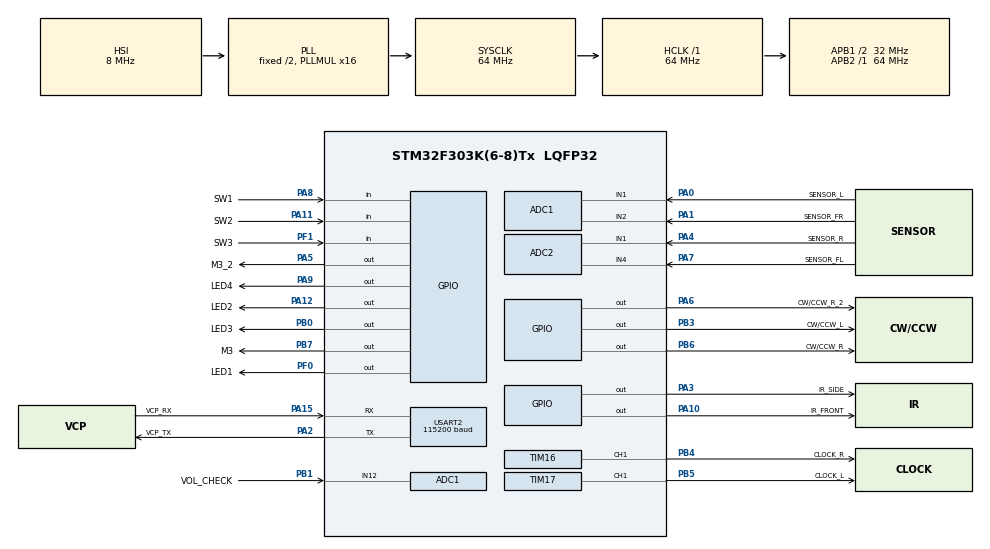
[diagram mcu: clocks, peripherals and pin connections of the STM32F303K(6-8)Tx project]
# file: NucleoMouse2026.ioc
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ADC1.Channel-0\#ChannelRegularConversion=ADC_CHANNEL_1
ADC1.Channel-1\#ChannelRegularConversion=ADC_CHANNEL_2
ADC1.Channel-2\#ChannelRegularConversion=ADC_CHANNEL_12
ADC1.DiscontinuousConvMode=ENABLE
ADC1.NbrOfConversion=3
ADC1.NbrOfConversionFlag=1
ADC1.Offset-0\#ChannelRegularConversion=0
ADC1.Offset-1\#ChannelRegularConversion=0
ADC1.Offset-2\#ChannelRegularConversion=0
ADC1.OffsetNumber-0\#ChannelRegularConversion=ADC_OFFSET_NONE
ADC1.OffsetNumber-1\#ChannelRegularConversion=ADC_OFFSET_NONE
ADC1.OffsetNumber-2\#ChannelRegularConversion=ADC_OFFSET_NONE
ADC1.Rank-0\#ChannelRegularConversion=1
ADC1.Rank-1\#ChannelRegularConversion=2
ADC1.Rank-2\#ChannelRegularConversion=3
ADC1.SamplingTime-0\#ChannelRegularConversion=ADC_SAMPLETIME_61CYCLES_5
ADC1.SamplingTime-1\#ChannelRegularConversion=ADC_SAMPLETIME_61CYCLES_5
ADC1.SamplingTime-2\#ChannelRegularConversion=ADC_SAMPLETIME_61CYCLES_5
ADC1.SamplingTimeOPAMP-1\#ChannelRegularConversion=ADC_SAMPLETIME_61CYCLES_5
ADC1.SamplingTimeOPAMP-2\#ChannelRegularConversion=ADC_SAMPLETIME_61CYCLES_5
ADC1.SubFamily=STM32F303x8
ADC1.master=1
ADC2.Channel-0\#ChannelRegularConversion=ADC_CHANNEL_1
ADC2.Channel-1\#ChannelRegularConversion=ADC_CHANNEL_4
ADC2.DiscontinuousConvMode=ENABLE
ADC2.NbrOfConversion=2
ADC2.NbrOfConversionFlag=1
ADC2.Offset-0\#ChannelRegularConversion=0
ADC2.Offset-1\#ChannelRegularConversion=0
ADC2.OffsetNumber-0\#ChannelRegularConversion=ADC_OFFSET_NONE
ADC2.OffsetNumber-1\#ChannelRegularConversion=ADC_OFFSET_NONE
ADC2.Rank-0\#ChannelRegularConversion=1
ADC2.Rank-1\#ChannelRegularConversion=2
ADC2.SamplingTime-0\#ChannelRegularConversion=ADC_SAMPLETIME_61CYCLES_5
ADC2.SamplingTime-1\#ChannelRegularConversion=ADC_SAMPLETIME_61CYCLES_5
ADC2.SamplingTimeOPAMP-1\#ChannelRegularConversion=ADC_SAMPLETIME_61CYCLES_5
ADC2.SubFamily=STM32F303x8
Mcu.Family=STM32F3
Mcu.Name=STM32F303K(6-8)Tx
Mcu.Package=LQFP32
NVIC.PriorityGroup=NVIC_PRIORITYGROUP_4
NVIC.TIM1_TRG_COM_TIM17_IRQn=true\:0\:0\:false\:false\:true\:true\:true\:true
NVIC.TIM1_UP_TIM16_IRQn=true\:0\:0\:false\:false\:true\:true\:true\:true
NVIC.TIM6_DAC1_IRQn=true\:0\:0\:false\:false\:true\:true\:true\:true
NVIC.USART2_IRQn=true\:2\:0\:false\:false\:true\:true\:true\:true
PA0.GPIO_Label=SENSOR_L
PA0.Mode=IN1-Single-Ended
PA0.Signal=ADC1_IN1
PA1.GPIO_Label=SENSOR_FR
PA1.Mode=IN2-Single-Ended
PA1.Signal=ADC1_IN2
PA10.GPIO_Label=IR_FRONT
PA10.Signal=GPIO_Output
PA11.GPIO_Label=SW2
PA11.GPIO_PuPd=GPIO_PULLUP
PA11.Signal=GPIO_Input
PA12.GPIO_Label=LED2
PA12.Signal=GPIO_Output
PA13.GPIO_Label=SWDIO
PA13.Mode=Serial_Wire
PA13.Signal=SYS_JTMS-SWDIO
PA14.GPIO_Label=SWCLK
PA14.Mode=Serial_Wire
PA14.Signal=SYS_JTCK-SWCLK
PA15.GPIO_Label=VCP_RX
PA15.Mode=Asynchronous
PA15.Signal=USART2_RX
PA2.GPIO_Label=VCP_TX
PA2.Mode=Asynchronous
PA2.Signal=USART2_TX
PA3.GPIO_Label=IR_SIDE
PA3.Signal=GPIO_Output
PA4.GPIO_Label=SENSOR_R
PA4.Mode=IN1-Single-Ended
PA4.Signal=ADC2_IN1
PA5.GPIO_Label=M3_2
PA5.Signal=GPIO_Output
PA6.GPIO_Label=CW/CCW_R_2
PA6.Signal=GPIO_Output
PA7.GPIO_Label=SENSOR_FL
PA7.Mode=IN4-Single-Ended
PA7.Signal=ADC2_IN4
PA8.GPIO_Label=SW1
PA8.GPIO_PuPd=GPIO_PULLUP
PA8.Signal=GPIO_Input
PA9.GPIO_Label=LED4
PA9.Signal=GPIO_Output
PB0.GPIO_Label=LED3
PB0.Signal=GPIO_Output
PB1.GPIO_Label=VOL_CHECK
PB1.Mode=IN12-Single-Ended
PB1.Signal=ADC1_IN12
PB3.GPIO_Label=CW/CCW_L
PB3.Signal=GPIO_Output
PB4.GPIO_Label=CLOCK_R
PB4.Signal=S_TIM16_CH1
PB5.GPIO_Label=CLOCK_L
PB5.Signal=S_TIM17_CH1
PB6.GPIO_Label=CW/CCW_R
PB6.Signal=GPIO_Output
PB7.GPIO_Label=M3
PB7.Signal=GPIO_Output
PF0\ /\ OSC_IN.GPIO_Label=LED1
PF0\ /\ OSC_IN.Signal=GPIO_Output
PF1\ /\ OSC_OUT.GPIO_Label=SW3
PF1\ /\ OSC_OUT.GPIO_PuPd=GPIO_PULLUP
PF1\ /\ OSC_OUT.Signal=GPIO_Input
ProjectManager.HeapSize=0x200
ProjectManager.StackSize=0x400
ProjectManager.TargetToolchain=STM32CubeIDE
RCC.AHBFreq_Value=64000000
RCC.APB1CLKDivider=RCC_HCLK_DIV2
RCC.APB1Freq_Value=32000000
RCC.APB1TimFreq_Value=64000000
RCC.APB2Freq_Value=64000000
RCC.APB2TimFreq_Value=64000000
RCC.CortexFreq_Value=64000000
RCC.HCLKFreq_Value=64000000
RCC.HSE_VALUE=8000000
RCC.HSI_VALUE=8000000
RCC.PLLMUL=RCC_PLL_MUL16
RCC.SYSCLKFreq_VALUE=64000000
RCC.SYSCLKSourceVirtual=RCC_SYSCLKSOURCE_PLLCLK
SH.S_TIM16_CH1.0=TIM16_CH1,PWM Generation1 CH1
SH.S_TIM17_CH1.0=TIM17_CH1,PWM Generation1 CH1
TIM16.Channel=TIM_CHANNEL_1
TIM16.Period=0
TIM16.Prescaler=64-1
TIM17.Channel=TIM_CHANNEL_1
TIM17.Period=0
TIM17.Prescaler=64-1
TIM6.Period=1000-1
TIM6.Prescaler=64-1
USART2.BaudRate=115200
USART2.VirtualMode-Asynchronous=VM_ASYNC
VP_TIM16_VS_ClockSourceINT.Mode=Enable_Timer
VP_TIM17_VS_ClockSourceINT.Mode=Enable_Timer
VP_TIM6_VS_ClockSourceINT.Mode=Enable_Timer
board=NUCLEO-F303K8

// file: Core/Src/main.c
/* USER CODE BEGIN Header */
/**
  ******************************************************************************
  * @file           : main.c
  * @brief          : Main program body
  ******************************************************************************
  * @attention
  *
  * Copyright (c) 2026 STMicroelectronics.
  * All rights reserved.
  *
  * This software is licensed under terms that can be found in the LICENSE file
  * in the root directory of this software component.
  * If no LICENSE file comes with this software, it is provided AS-IS.
  *
  ******************************************************************************
  */
/* USER CODE END Header */
#include "main.h"
#include "adc.h"
#include "tim.h"
#include "usart.h"
#include "gpio.h"

/* USER CODE BEGIN Includes */
#include "global.h"
#include "motor.h"
#include "drive.h"
#include "driveTest.h"
#include "search.h"
#include "run_log.h"
/* USER CODE END Includes */

void SystemClock_Config(void);

int main(void)
{

  /* MCU Configuration--------------------------------------------------------*/

  /* Reset of all peripherals, Initializes the Flash interface and the Systick. */
  HAL_Init();

  /* Configure the system clock */
  SystemClock_Config();

  /* Initialize all configured peripherals */
  MX_GPIO_Init();
  MX_USART2_UART_Init();
  MX_ADC1_Init();
  MX_ADC2_Init();
  MX_TIM6_Init();
  MX_TIM16_Init();
  MX_TIM17_Init();
  /* USER CODE BEGIN 2 */
  setbuf(stdout, NULL);  // printf用
  //割り込みの有効化
  __HAL_TIM_CLEAR_FLAG(&htim6, TIM_FLAG_UPDATE);
  __HAL_TIM_ENABLE_IT(&htim6, TIM_IT_UPDATE);
  HAL_TIM_Base_Start(&htim6);
  MotorDisable();
  printf("***** WMMC Nucleo Mouse 2026 *****\n");
  //mode選択用変数の初期化
  int mode = 0;
  /* USER CODE END 2 */

  /* Infinite loop */
  /* USER CODE BEGIN WHILE */
  while (1)
  {
	  //mode選択
	  mode = select_mode(mode);
      DriveSetWallFollowingGain((mode == 4 || mode == 8) ? MODE4_WALL_FOLLOW_KP_DEG_S_PER_MM
              : WALL_FOLLOW_KP_DEG_S_PER_MM);
	  //mode選択に応じた動作
	  switch (mode) {
	  case 0:
		  // モード0の処理
		  printf("Mode 0: slalom exploration 300 mm/s\n");
      MotorInit();
      MotorEnable();
      SearchInit();
      DriveSetStartPosition();
      RunLogStart((uint8_t)mode);
      SearchExploreSlalom();
      MotorDisable();
		  break;
	  case 1:
		  // モード1の処理
		  printf("Mode 1 selected\n");
      MotorInit();
      MotorEnable();
      SearchInit();
      DriveSetStartPosition();
      RunLogStart((uint8_t)mode);
      SearchB();
      MotorDisable();
		  break;
	  case 2:
		  // モード2の処理
		  printf("Mode 2 selected\n");
		  MotorInit();
		  MotorEnable();
		  SearchInit();
		  DriveSetStartPosition();
		  RunLogStart((uint8_t)mode);
		  SearchC();
		  MotorDisable();
		  break;
	  case 3:
		  // 保存済み地図を使った二次走行（スタートからゴールまで）
		  printf("Mode 3: saved-map run\n");
		  MotorInit();
		  MotorEnable();
		  SearchInit();
		  mouse.second = true;
		  RunLogStart((uint8_t)mode);
		  SearchB();
		  MotorDisable();
		  break;
	  case 4:
		  // 保存済み地図を使ったスラローム二次走行
		  printf("Mode 4: saved-map slalom run\n");
		  MotorInit();
		  MotorEnable();
		  SearchInit();
		  mouse.second = true;
		  RunLogStart((uint8_t)mode);
		  SearchSlalom();
		  MotorDisable();
		  break;
      case 8:
          printf("Mode 8: saved-map slalom with preturn speed control\n");
          MotorInit();
          MotorEnable();
          SearchInit();
          mouse.second = true;
          SearchSlalomSlowEntry();
          MotorDisable();
          break;
	  case 5:
		  // モード5の処理
		  printf("Mode 5 selected\n");
		  TestSearch();
		  break;
	  case 6:
		  // モード6の処理
		  printf("Mode 6 selected\n");
      DriveTest();
		  break;
	  case 7:
		  // モード7の処理
		  printf("Mode 7 : Sensor Check\n");
		  while (1)
		  {
			  SetLED();
			  SensorPrintDistances();
			  HAL_Delay(100);
		  }
		  break;
	  default:
		  // デフォルトの処理
		  printf("Default mode selected\n");
		  break;
	  }
    if ((mode >= 0 && mode <= 4) || mode == 8) RunLogStopAndDump();
    /* USER CODE END WHILE */

  }
}

void SystemClock_Config(void)
{
  RCC_OscInitTypeDef RCC_OscInitStruct = {0};
  RCC_ClkInitTypeDef RCC_ClkInitStruct = {0};
  RCC_PeriphCLKInitTypeDef PeriphClkInit = {0};

  /** Initializes the RCC Oscillators according to the specified parameters
  * in the RCC_OscInitTypeDef structure.
  */
  RCC_OscInitStruct.OscillatorType = RCC_OSCILLATORTYPE_HSI;
  RCC_OscInitStruct.HSIState = RCC_HSI_ON;
  RCC_OscInitStruct.HSICalibrationValue = RCC_HSICALIBRATION_DEFAULT;
  RCC_OscInitStruct.PLL.PLLState = RCC_PLL_ON;
  RCC_OscInitStruct.PLL.PLLSource = RCC_PLLSOURCE_HSI;
  RCC_OscInitStruct.PLL.PLLMUL = RCC_PLL_MUL16;
  if (HAL_RCC_OscConfig(&RCC_OscInitStruct) != HAL_OK)
  {
    Error_Handler();
  }

  /** Initializes the CPU, AHB and APB buses clocks
  */
  RCC_ClkInitStruct.ClockType = RCC_CLOCKTYPE_HCLK|RCC_CLOCKTYPE_SYSCLK
                              |RCC_CLOCKTYPE_PCLK1|RCC_CLOCKTYPE_PCLK2;
  RCC_ClkInitStruct.SYSCLKSource = RCC_SYSCLKSOURCE_PLLCLK;
  RCC_ClkInitStruct.AHBCLKDivider = RCC_SYSCLK_DIV1;
  RCC_ClkInitStruct.APB1CLKDivider = RCC_HCLK_DIV2;
  RCC_ClkInitStruct.APB2CLKDivider = RCC_HCLK_DIV1;

  if (HAL_RCC_ClockConfig(&RCC_ClkInitStruct, FLASH_LATENCY_2) != HAL_OK)
  {
    Error_Handler();
  }
  PeriphClkInit.PeriphClockSelection = RCC_PERIPHCLK_ADC12;
  PeriphClkInit.Adc12ClockSelection = RCC_ADC12PLLCLK_DIV1;
  if (HAL_RCCEx_PeriphCLKConfig(&PeriphClkInit) != HAL_OK)
  {
    Error_Handler();
  }
}

void Error_Handler(void)
{
  __disable_irq();
  while (1)
  {
  }
}
